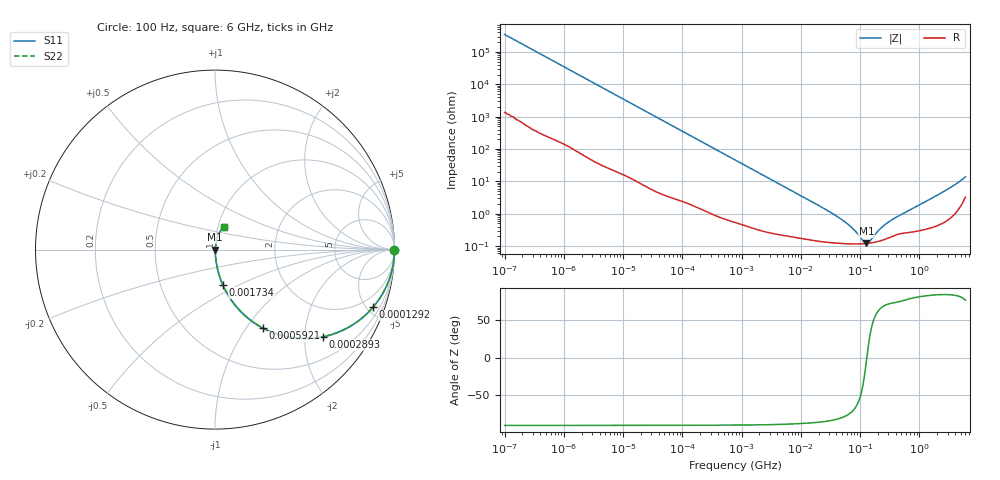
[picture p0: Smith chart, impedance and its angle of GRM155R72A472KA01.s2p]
!Murata Part Number: GRM155R72A472KA01
!These Parameters are Measured in Series Mode Connection
!Data Generated on Mar 30, 2021
!  o--ll--o
!Port1  Port2
!  o------o
!Operation Temp=25[degC], DC Bias Voltage=0[V]
!Freq. Start=100[Hz] Stop=6[GHz] 401[Steps]
# Hz S RI R 50
!Freq.(Hz) S11(Real) S11(Imag) S21(Real) S21(Imag) S12(Real) S12(Imag) S22(Real) S22(Imag)
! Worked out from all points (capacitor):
!   401 points, 100 Hz to 6 GHz, reference 50 ohm
!   read as one part in series: C = 4.58 nF near 109 Hz
!   lowest |Z| = 121 mohm at 127.6 MHz (marker M1)
!   series resonance near 130 MHz, so ESL is about 330 pH
!   S11 on the Smith chart (normalised r, x): 100 Hz: open; 129.2 kHz: 1.04, -5.47; 289.3 kHz: 1.02, -2.45; 592.1 kHz: 1.01, -1.20; 1.734 MHz: 1.01, -0.41; 6 GHz: 1.07, +0.27
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100  1 -0.000288  1.2e-06 0.000288  1.2e-06 0.000288  1 -0.000288
2008  0.9999 -0.00575  5.57e-05 0.00575  5.57e-05 0.00575  0.9999 -0.00575
12592  0.9985 -0.0358  0.00145 0.0358  0.00145 0.0358  0.9985 -0.0358
40335  0.9865 -0.1129  0.0135 0.1129  0.0135 0.1129  0.9865 -0.1129
129199  0.8804 -0.3209  0.1196 0.3209  0.1196 0.3209  0.8804 -0.3209
193316  0.7688 -0.4177  0.2312 0.4177  0.2312 0.4177  0.7688 -0.4177
289253  0.6001 -0.4857  0.3999 0.4857  0.3999 0.4857  0.6001 -0.4857
413847  0.4252 -0.4898  0.5748 0.4898  0.5748 0.4898  0.4252 -0.4898
592111  0.2677 -0.4376  0.7323 0.4376  0.7323 0.4376  0.2677 -0.4376
774597  0.1777 -0.3765  0.8223 0.3765  0.8223 0.3765  0.1777 -0.3765
1734173  0.0439 -0.1969  0.9561 0.1969  0.9561 0.1969  0.0439 -0.1969
4440638  0.00871 -0.0802  0.9913 0.0802  0.9913 0.0802  0.00871 -0.0802
1.555665e7  0.00204 -0.0231  0.998 0.0231  0.998 0.0231  0.00204 -0.0231
5.699437e7  0.00121 -0.00526  0.9988 0.00526  0.9988 0.00526  0.00121 -0.00526
8.154455e7  0.00117 -0.00277  0.9988 0.00277  0.9988 0.00277  0.00117 -0.00277
1.166697e8  0.00119 -0.000622  0.9988 0.000622  0.9988 0.000622  0.00119 -0.000622
1.275994e8  0.0012 -0.000107  0.9988 0.000107  0.9988 0.000107  0.0012 -0.000107
1.459435e8  0.00124 0.000664  0.9988 -0.000664  0.9988 -0.000664  0.00124 0.000664
2.183701e8  0.00145 0.00307  0.9986 -0.00307  0.9986 -0.00307  0.00145 0.00307
3.124326e8  0.00185 0.00547  0.9981 -0.00547  0.9981 -0.00547  0.00185 0.00547
2.048624e9  0.00569 0.0374  0.9943 -0.0374  0.9943 -0.0374  0.00569 0.0374
6e9  0.0477 0.1237  0.9523 -0.1237  0.9523 -0.1237  0.0477 0.1237
